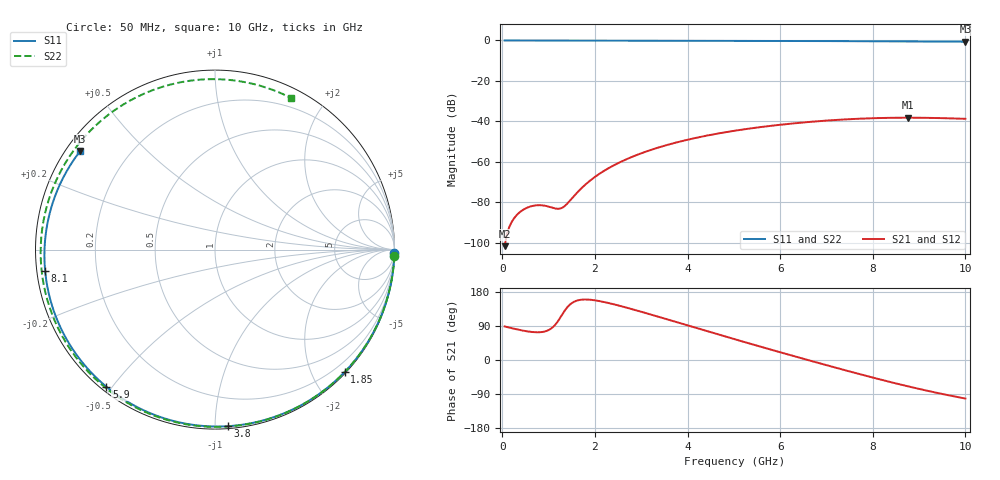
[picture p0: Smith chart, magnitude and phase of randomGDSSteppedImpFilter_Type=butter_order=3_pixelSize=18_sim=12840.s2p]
! freq	dB(S11)	phase(S11)	dB(S12)	phase(S12)
!  dB(S21)	phase(S21)	dB(S22)	phase(S22)
!S-par simulation data
#  GHz  S  DB  R 50
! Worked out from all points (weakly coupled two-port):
!   200 points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, 50 MHz to 10 GHz, reference 50 ohm
!   highest |S21| = -38.22 dB at 8.75 GHz (marker M1); lowest = -101.8 dB at 50 MHz (marker M2)
!   lowest |S11| = -0.6 dB at 10 GHz (marker M3), VSWR 27.70, Z = 2 + j16.3 ohm
!   |S11| at or under -10 dB: nowhere
!   |S22| runs from -0.5 to 0.0 dB; largest |S21 - S12| = 0
!   S11 on the Smith chart (normalised r, x): 50 MHz: 0, -95; 1.85 GHz: 0.02, -2.52; 3.8 GHz: 0.01, -1.07; 5.9 GHz: 0.02, -0.48; 8.1 GHz: 0.02, -0.06; 10 GHz: 0.04, +0.33
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0.05  -0.00 -1.2  -101.80 88.5  -101.80 88.5  -0.00 -1.9
0.35  -0.01 -8.3  -85.53 80.0  -85.53 80.0  -0.02 -13.1
0.7  -0.02 -16.6  -81.68 73.4  -81.68 73.4  -0.03 -26.0
1.4  -0.04 -33.0  -80.82 138.7  -80.82 138.7  -0.06 -51.1
1.45  -0.04 -34.1  -79.58 145.2  -79.58 145.2  -0.07 -52.8
1.75  -0.05 -41.0  -72.24 159.5  -72.24 159.5  -0.08 -63.1
1.85  -0.06 -43.3  -70.21 159.5  -70.21 159.5  -0.08 -66.5
2.15  -0.06 -50.1  -65.20 154.2  -65.20 154.2  -0.09 -76.4
2.5  -0.07 -57.9  -60.72 144.2  -60.72 144.2  -0.10 -87.6
2.95  -0.09 -67.8  -56.27 129.1  -56.27 129.1  -0.12 -101.4
3.4  -0.10 -77.4  -52.78 113.1  -52.78 113.1  -0.14 -114.6
3.8  -0.12 -85.9  -50.25 98.7  -50.25 98.7  -0.15 -125.9
4.45  -0.14 -99.3  -46.94 75.2  -46.94 75.2  -0.18 -143.6
5.05  -0.17 -111.4  -44.56 53.7  -44.56 53.7  -0.21 -159.4
5.9  -0.22 -128.4  -41.98 23.9  -41.98 23.9  -0.26 178.6
6.7  -0.28 -144.2  -40.19 -3.5  -40.19 -3.5  -0.31 157.8
7.4  -0.34 -158.3  -39.07 -26.9  -39.07 -26.9  -0.35 139.1
8.1  -0.41 -172.8  -38.42 -49.5  -38.42 -49.5  -0.39 119.8
8.35  -0.44 -178.1  -38.30 -57.3  -38.30 -57.3  -0.41 112.7
8.75  -0.48 173.1  -38.22 -69.2  -38.22 -69.2  -0.43 101.1
9.4  -0.56 158.3  -38.39 -87.1  -38.39 -87.1  -0.46 81.7
10  -0.63 143.8  -38.78 -101.7  -38.78 -101.7  -0.49 63.4
